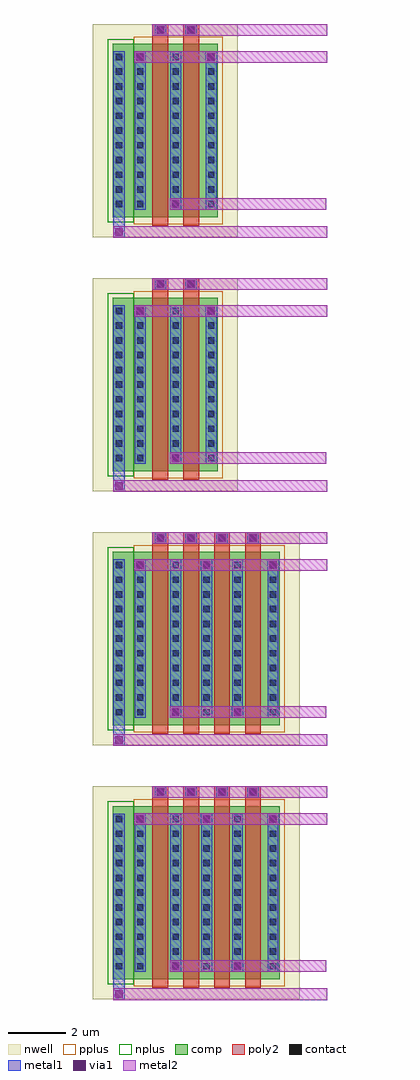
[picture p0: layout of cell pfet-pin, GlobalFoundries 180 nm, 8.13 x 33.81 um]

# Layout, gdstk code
from math import pi, radians
import gdstk
lib = gdstk.Library(unit=1e-6, precision=1e-09)
def R(c, l, rs):  # rectangles x0, y0, x1, y1
    for r in rs: c.add(gdstk.rectangle(r[:2], r[2:], *l))
def A(c, l, x, y, w, h, nx, ny, dx, dy):  # array of equal rectangles
    R(c, l, [(x+i*dx, y+j*dy, x+i*dx+w, y+j*dy+h) for i in range(nx) for j in range(ny)])
nwell = (21, 0)
comp = (22, 0)
poly2 = (30, 0)
pplus = (31, 0)
nplus = (32, 0)
contact = (33, 0)
metal1 = (34, 0)
via1 = (35, 0)
metal2 = (36, 0)

via_dev = lib.new_cell('via_dev')
R(via_dev, metal1, [(0,0,0.4,0.4)])
R(via_dev, via1, [(0.07,0.07,0.33,0.33)])
R(via_dev, metal2, [(0,0,0.4,0.4)])

pfet = lib.new_cell('pfet')
R(pfet, nwell, [(-1.15,-0.69,3.88,6.69)])
R(pfet, comp, [(-0.46,0,0,6), (0,0,2,6), (2,0,2.46,6), (2.46,0,3.19,6)])
R(pfet, poly2, [(0.19,-0.3,0.74,6.3), (1.26,-0.3,1.81,6.3), (0.19,6.3,0.74,6.68), (1.26,6.3,1.81,6.68)])
R(pfet, pplus, [(-0.63,-0.24,2.46,6.24)])
R(pfet, nplus, [(2.46,-0.17,3.36,6.17)])
A(pfet, contact, -0.34, 0.34, 0.22, 0.22, 3, 11, 1.23, 0.51)
A(pfet, contact, 2.85, 0.34, 0.22, 0.22, 1, 11, 0, 0.51)
R(pfet, contact, [(0.355,6.38,0.575,6.6), (1.425,6.38,1.645,6.6)])
A(pfet, metal1, -0.42, 0.26, 0.38, 5.48, 3, 1, 1.23, 0)
R(pfet, metal1, [(2.77,0.26,3.15,5.74), (0.275,6.299,0.655,6.681), (1.345,6.299,1.725,6.681)])

pfet_1 = lib.new_cell('pfet$1')
R(pfet_1, nwell, [(-1.15,-0.69,6.02,6.69)])
R(pfet_1, comp, [(-0.46,0,0,6), (0,0,4.14,6), (4.14,0,4.6,6), (4.6,0,5.33,6)])
A(pfet_1, poly2, 0.19, -0.3, 0.55, 6.6, 4, 1, 1.07, 0)
A(pfet_1, poly2, 0.19, 6.3, 0.55, 0.38, 4, 1, 1.07, 0)
R(pfet_1, pplus, [(-0.63,-0.24,4.6,6.24)])
R(pfet_1, nplus, [(4.6,-0.17,5.5,6.17)])
A(pfet_1, contact, -0.34, 0.34, 0.22, 0.22, 1, 11, 0, 0.51)
A(pfet_1, contact, 0.89, 0.34, 0.22, 0.22, 3, 11, 1.07, 0.51)
A(pfet_1, contact, 4.26, 0.34, 0.22, 0.22, 1, 11, 0, 0.51)
A(pfet_1, contact, 4.99, 0.34, 0.22, 0.22, 1, 11, 0, 0.51)
A(pfet_1, contact, 0.355, 6.38, 0.22, 0.22, 4, 1, 1.07, 0)
A(pfet_1, metal1, 0.81, 0.26, 0.38, 5.48, 3, 1, 1.07, 0)
A(pfet_1, metal1, 0.275, 6.299, 0.38, 0.382, 4, 1, 1.07, 0)
R(pfet_1, metal1, [(-0.42,0.26,-0.04,5.74), (4.18,0.26,4.56,5.74), (4.91,0.26,5.29,5.74)])

pfet_pin = lib.new_cell('pfet-pin')
pfet_pin.add(gdstk.FlexPath([(-0.28,-1.71),(-0.245,-1.71)], 0.4, ends=(0, 7.38), simple_path=True, layer=36, datatype=0))  # metal2
pfet_pin.add(gdstk.FlexPath([(1.07,5.3),(1.135,5.3)], 0.4, ends=(0, 6), simple_path=True, layer=36, datatype=0))  # metal2
pfet_pin.add(gdstk.FlexPath([(-0.28,-10.51),(-0.245,-10.51)], 0.4, ends=(0, 7.38), simple_path=True, layer=36, datatype=0))  # metal2
pfet_pin.add(gdstk.FlexPath([(1.68,-0.74),(1.74,-0.74)], 0.4, ends=(0, 5.36), simple_path=True, layer=36, datatype=0))  # metal2
pfet_pin.add(gdstk.FlexPath([(1.07,-3.5),(1.135,-3.5)], 0.4, ends=(0, 6), simple_path=True, layer=36, datatype=0))  # metal2
pfet_pin.add(gdstk.FlexPath([(4.04,4.36),(0.45,4.36)], 0.4, ends=(3.09, 0), simple_path=True, layer=36, datatype=0))  # metal2
pfet_pin.add(gdstk.FlexPath([(1.68,-9.54),(1.74,-9.54)], 0.4, ends=(0, 5.36), simple_path=True, layer=36, datatype=0))  # metal2
pfet_pin.add(gdstk.FlexPath([(4.04,-4.44),(0.45,-4.44)], 0.4, ends=(3.09, 0), simple_path=True, layer=36, datatype=0))  # metal2
pfet_pin.add(gdstk.FlexPath([(-0.28,-19.31),(-0.245,-19.31)], 0.4, ends=(0, 7.38), simple_path=True, layer=36, datatype=0))  # metal2
pfet_pin.add(gdstk.FlexPath([(1.07,-12.3),(1.135,-12.3)], 0.4, ends=(0, 6), simple_path=True, layer=36, datatype=0))  # metal2
pfet_pin.add(gdstk.FlexPath([(-0.28,-28.11),(-0.245,-28.11)], 0.4, ends=(0, 7.38), simple_path=True, layer=36, datatype=0))  # metal2
pfet_pin.add(gdstk.FlexPath([(1.68,-18.34),(1.74,-18.34)], 0.4, ends=(0, 5.36), simple_path=True, layer=36, datatype=0))  # metal2
pfet_pin.add(gdstk.FlexPath([(1.07,-21.1),(1.135,-21.1)], 0.4, ends=(0, 6), simple_path=True, layer=36, datatype=0))  # metal2
pfet_pin.add(gdstk.FlexPath([(4.04,-13.24),(0.45,-13.24)], 0.4, ends=(3.09, 0), simple_path=True, layer=36, datatype=0))  # metal2
pfet_pin.add(gdstk.FlexPath([(1.68,-27.14),(1.74,-27.14)], 0.4, ends=(0, 5.36), simple_path=True, layer=36, datatype=0))  # metal2
pfet_pin.add(gdstk.FlexPath([(4.04,-22.04),(0.45,-22.04)], 0.4, ends=(3.09, 0), simple_path=True, layer=36, datatype=0))  # metal2
pfet_pin.add(gdstk.FlexPath([(-0.08,4.55),(-0.08,4.51)], 0.4, ends=(0, 6.42), simple_path=True, layer=34, datatype=0))  # metal1
pfet_pin.add(gdstk.FlexPath([(-0.08,-4.25),(-0.08,-4.29)], 0.4, ends=(0, 6.42), simple_path=True, layer=34, datatype=0))  # metal1
pfet_pin.add(gdstk.FlexPath([(-0.08,-13.05),(-0.08,-13.09)], 0.4, ends=(0, 6.42), simple_path=True, layer=34, datatype=0))  # metal1
pfet_pin.add(gdstk.FlexPath([(-0.08,-21.85),(-0.08,-21.89)], 0.4, ends=(0, 6.42), simple_path=True, layer=34, datatype=0))  # metal1
pfet_pin.add(gdstk.Reference(via_dev, (-0.28,-1.91)))
pfet_pin.add(gdstk.Reference(pfet, (2.88,-1.19), rotation=pi, x_reflection=True))
pfet_pin.add(gdstk.Reference(via_dev, (1.145,5.1)))
pfet_pin.add(gdstk.Reference(via_dev, (2.215,5.1)))
pfet_pin.add(gdstk.Reference(via_dev, (-0.28,-10.71)))
pfet_pin.add(gdstk.Reference(pfet, (2.88,-9.99), rotation=pi, x_reflection=True))
pfet_pin.add(gdstk.Reference(via_dev, (1.68,-0.94)))
pfet_pin.add(gdstk.Reference(via_dev, (0.45,4.16)))
pfet_pin.add(gdstk.Reference(via_dev, (2.91,4.16)))
pfet_pin.add(gdstk.Reference(via_dev, (1.145,-3.7)))
pfet_pin.add(gdstk.Reference(via_dev, (2.215,-3.7)))
pfet_pin.add(gdstk.Reference(via_dev, (1.68,-9.74)))
pfet_pin.add(gdstk.Reference(via_dev, (0.45,-4.64)))
pfet_pin.add(gdstk.Reference(via_dev, (2.91,-4.64)))
pfet_pin.add(gdstk.Reference(via_dev, (-0.28,-19.51)))
pfet_pin.add(gdstk.Reference(pfet_1, (5.02,-18.79), rotation=pi, x_reflection=True))
pfet_pin.add(gdstk.Reference(via_dev, (1.145,-12.5)))
pfet_pin.add(gdstk.Reference(via_dev, (2.215,-12.5)))
pfet_pin.add(gdstk.Reference(via_dev, (-0.28,-28.31)))
pfet_pin.add(gdstk.Reference(pfet_1, (5.02,-27.59), rotation=pi, x_reflection=True))
pfet_pin.add(gdstk.Reference(via_dev, (1.68,-18.54)))
pfet_pin.add(gdstk.Reference(via_dev, (0.45,-13.44)))
pfet_pin.add(gdstk.Reference(via_dev, (2.75,-13.44)))
pfet_pin.add(gdstk.Reference(via_dev, (1.145,-21.3)))
pfet_pin.add(gdstk.Reference(via_dev, (2.215,-21.3)))
pfet_pin.add(gdstk.Reference(via_dev, (1.68,-27.34)))
pfet_pin.add(gdstk.Reference(via_dev, (0.45,-22.24)))
pfet_pin.add(gdstk.Reference(via_dev, (2.75,-22.24)))
pfet_pin.add(gdstk.Reference(via_dev, (3.82,-27.34)))
pfet_pin.add(gdstk.Reference(via_dev, (5.05,-22.24)))
pfet_pin.add(gdstk.Reference(via_dev, (3.82,-18.54)))
pfet_pin.add(gdstk.Reference(via_dev, (5.05,-13.44)))
pfet_pin.add(gdstk.Reference(via_dev, (3.285,-21.3)))
pfet_pin.add(gdstk.Reference(via_dev, (4.355,-21.3)))
pfet_pin.add(gdstk.Reference(via_dev, (3.285,-12.5)))
pfet_pin.add(gdstk.Reference(via_dev, (4.355,-12.5)))

lib.write_gds('pfet-pin.gds')
